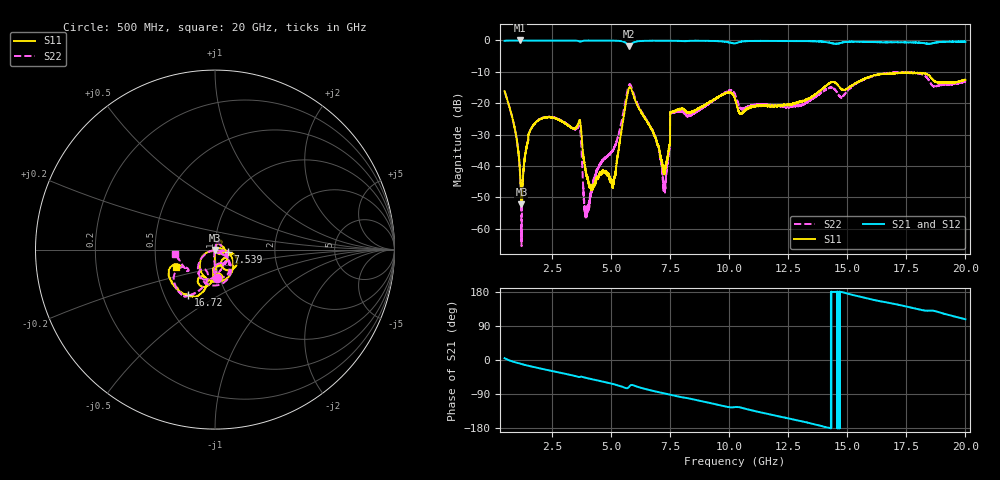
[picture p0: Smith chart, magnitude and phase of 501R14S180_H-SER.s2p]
!{501R14S180}
!Johanson Technology Inc.
!www.johansontechnology.com
!Test Board Conditions:
!Substrate Type  RO4350B
!Substrate Thickness  20 mil
!Substrate Dk  3.66
!TL Type: GCPW
!TL Trace Width  36 mil
!TL Gap  12 mil
!Electrode orientation  Horizontal
!DUT TOPOLOGY	SERIES
!Mounting Pad LxW  26x36 mil
! Created Wed Mar 11 16:04:23 2020
# mhz S ma R 50
! 2 Port Network Data from SP1.SP block
! freq  magS11  angS11  magS21  angS21  magS12  angS12  magS22  angS22
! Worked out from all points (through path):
!   19501 points, 500 MHz to 20 GHz, reference 50 ohm
!   highest |S21| = -0.01 dB at 1.135 GHz (marker M1); lowest = -1.8 dB at 5.772 GHz (marker M2)
!   group delay of S21, straight-line fit = 35.2 ps
!   lowest |S11| = -52.2 dB at 1.211 GHz (marker M3), VSWR 1.00, Z = 50.2 - j0.139 ohm
!   |S11| at or under -10 dB: start of sweep to end of sweep
!   |S22| runs from -65.5 to -10.1 dB; largest |S21 - S12| = 0.021
!   S11 on the Smith chart (normalised r, x): 500 MHz: 0.98, -0.31; 7.539 GHz: 1.15, -0.03; 16.72 GHz: 0.66, -0.36; 20 GHz: 0.64, -0.13
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500  0.1555 -84.1  0.9851 4.8  0.9849 4.7  0.1561 -84.9
951  0.03626 -91.4  0.9974 -6.2  0.9969 -6.2  0.03597 -97.3
1135  0.01031 -84.0  0.9987 -9.4  0.9966 -9.4  0.009712 -104.2
1211  0.002455 -34.2  0.997 -10.7  0.997 -10.7  0.0008999 -149.7
1533  0.0332 69.5  0.9976 -15.7  0.9964 -15.6  0.03342 77.6
1978  0.05521 63.7  0.9955 -21.9  0.9952 -21.9  0.05551 72.7
3613  0.04698 20.9  0.9804 -44.5  0.9804 -44.5  0.04168 32.2
3750  0.0326 -47.3  0.9697 -44.0  0.9702 -43.9  0.01919 -62.6
3879  0.0111 -53.2  0.9898 -46.1  0.9898 -46.1  0.002159 -153.9
3973  0.006933 -51.4  0.9927 -47.6  0.9928 -47.5  0.00181 179.9
4445  0.006462 -147.3  0.9936 -54.1  0.9935 -54.1  0.009109 -110.2
5065  0.005001 119.9  0.9908 -63.0  0.9899 -63.0  0.01708 -70.1
5772  0.1763 -71.9  0.8098 -70.6  0.8096 -70.5  0.1972 -82.5
7000  0.02088 -155.4  0.9901 -84.5  0.99 -84.5  0.02038 -160.4
7277  0.008171 -81.5  0.9904 -88.4  0.9907 -88.4  0.00447 -88.3
7539  0.07235 -8.8  0.9864 -92.1  0.987 -92.0  0.07002 -6.9
10250  0.118 -65.2  0.9005 -124.2  0.9002 -124.2  0.138 -89.5
10512  0.0689 -47.2  0.955 -125.8  0.9561 -125.7  0.08153 -77.8
13500  0.1278 -93.7  0.9725 -167.8  0.9757 -167.9  0.117 -73.0
16724  0.2935 -120.7  0.9335 151.3  0.9296 151.1  0.3005 -121.1
16750  0.2934 -121.0  0.9355 151.0  0.9312 150.8  0.302 -120.8
20000  0.2365 -155.1  0.9532 107.4  0.9539 107.7  0.2231 -173.3
